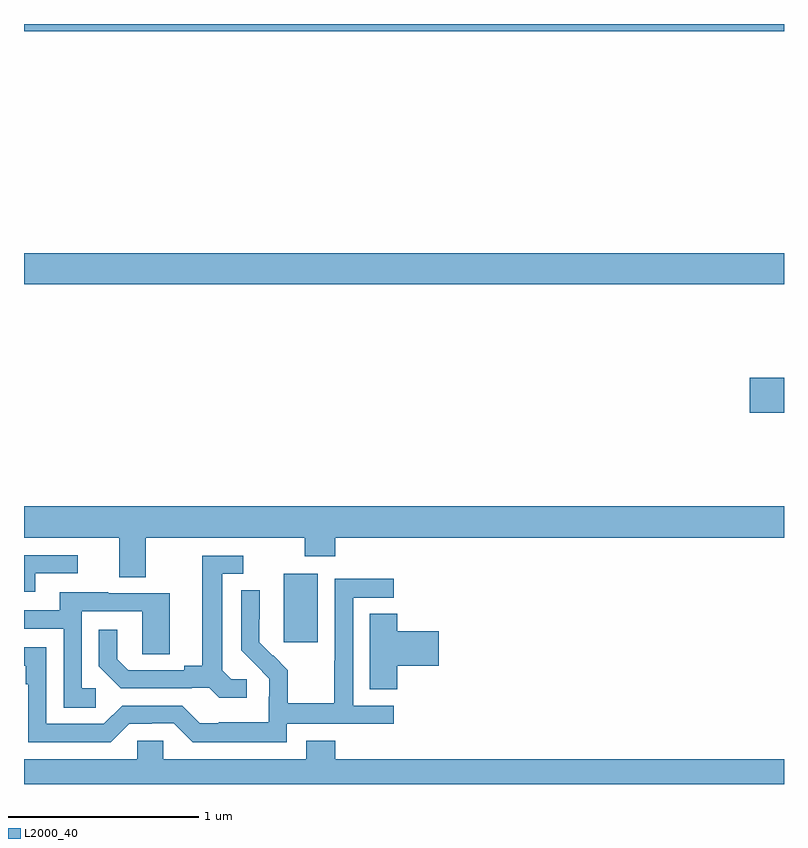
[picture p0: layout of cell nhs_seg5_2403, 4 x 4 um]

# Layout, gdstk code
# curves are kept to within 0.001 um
import gdstk
lib = gdstk.Library(unit=1e-6, precision=1e-09)
def R(c, l, rs):  # rectangles x0, y0, x1, y1
    for r in rs: c.add(gdstk.rectangle(r[:2], r[2:], *l))
def P(c, l, *ps):  # polygons
    for p in ps: c.add(gdstk.Polygon(p, *l))
L2000_40 = (2000, 40)

nhs_seg5_2403 = lib.new_cell('nhs_seg5_2403')
R(nhs_seg5_2403, L2000_40, [(252.368,853.545,252.547,853.906), (254.82,854.753,255,854.936), (251,855.428,255,855.592), (251,856.76,255,856.799)])
P(nhs_seg5_2403, L2000_40, [(251.641,854.096),(252.478,854.096),(252.478,853.997),(252.638,853.997),(252.638,854.096),(255,854.096),(255,854.26),(251,854.26),(251,854.096),(251.501,854.096),(251.501,853.888),(251.641,853.888)],
  [(251.059,853.908),(251.284,853.908),(251.284,854.004),(251,854.004),(251,853.812),(251.059,853.812)],
  [(252.172,853.35),(252.09,853.35),(252.043,853.397),(252.043,853.905),(252.154,853.905),(252.154,854.001),(251.939,854.001),(251.939,853.421),(251.843,853.421),(251.843,853.398),(251.548,853.398),(251.491,853.455),(251.491,853.612),(251.394,853.612),(251.394,853.418),(251.51,853.302),(251.882,853.302),(251.882,853.305),(251.976,853.305),(252.028,853.253),(252.172,853.253)],
  [(252.384,853.116),(252.946,853.116),(252.946,853.212),(252.732,853.212),(252.732,853.779),(252.946,853.779),(252.946,853.878),(252.636,853.878),(252.636,853.448),(252.634,853.448),(252.634,853.225),(252.389,853.225),(252.389,853.399),(252.312,853.476),(252.309,853.473),(252.239,853.544),(252.24,853.82),(252.144,853.82),(252.144,853.502),(252.29,853.354),(252.29,853.257),(252.288,853.257),(252.288,853.123),(252.025,853.123),(252.025,853.119),(251.925,853.119),(251.832,853.212),(251.517,853.212),(251.421,853.116),(251.118,853.116),(251.118,853.518),(251,853.518),(251,853.422),(251.009,853.422),(251.009,853.325),(251.022,853.325),(251.022,853.02),(251.457,853.02),(251.553,853.116),(251.672,853.116),(251.672,853.119),(251.787,853.119),(251.887,853.019),(252.384,853.019)],
  [(251.377,853.302),(251.304,853.302),(251.304,853.707),(251.622,853.707),(251.622,853.483),(251.767,853.483),(251.767,853.803),(251.443,853.803),(251.443,853.807),(251.189,853.807),(251.189,853.713),(251,853.713),(251,853.617),(251.208,853.617),(251.208,853.201),(251.377,853.201)],
  [(252.965,853.421),(253.183,853.421),(253.183,853.604),(252.965,853.604),(252.965,853.694),(252.821,853.694),(252.821,853.297),(252.965,853.297)],
  [(255,852.928),(252.638,852.928),(252.638,853.027),(252.485,853.027),(252.485,852.928),(251.733,852.928),(251.733,853.026),(251.595,853.026),(251.595,852.928),(251,852.928),(251,852.799),(255,852.799)])

lib.write_gds('nhs_seg5_2403.gds')
